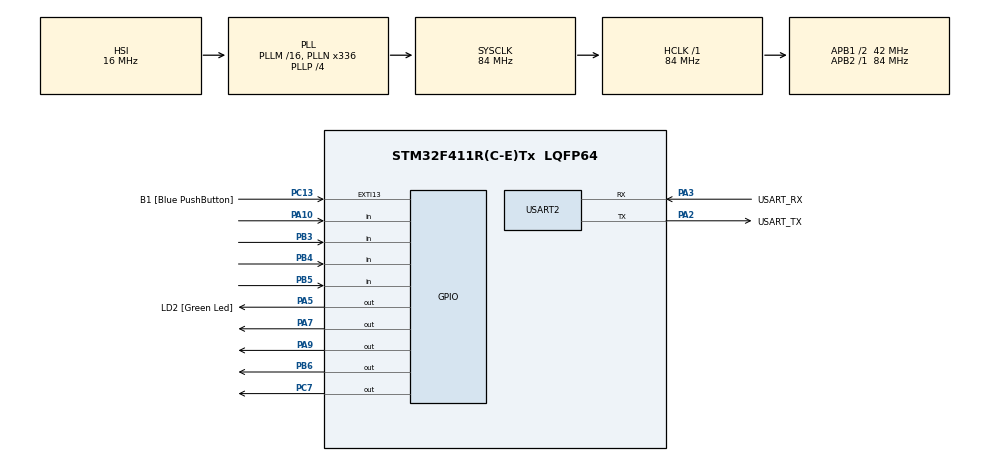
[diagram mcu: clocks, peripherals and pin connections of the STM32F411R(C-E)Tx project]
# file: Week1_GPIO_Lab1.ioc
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Mcu.Family=STM32F4
Mcu.Name=STM32F411R(C-E)Tx
Mcu.Package=LQFP64
NVIC.PriorityGroup=NVIC_PRIORITYGROUP_0
PA10.Signal=GPIO_Input
PA13.GPIO_Label=TMS
PA13.Mode=Serial_Wire
PA13.Signal=SYS_JTMS-SWDIO
PA14.GPIO_Label=TCK
PA14.Mode=Serial_Wire
PA14.Signal=SYS_JTCK-SWCLK
PA2.GPIO_Label=USART_TX
PA2.Mode=Asynchronous
PA2.Signal=USART2_TX
PA3.GPIO_Label=USART_RX
PA3.Mode=Asynchronous
PA3.Signal=USART2_RX
PA5.GPIO_Label=LD2 [Green Led]
PA5.Signal=GPIO_Output
PA7.Signal=GPIO_Output
PA9.Signal=GPIO_Output
PB3.Signal=GPIO_Input
PB4.Signal=GPIO_Input
PB5.Signal=GPIO_Input
PB6.Signal=GPIO_Output
PC13-ANTI_TAMP.GPIO_Label=B1 [Blue PushButton]
PC13-ANTI_TAMP.GPIO_ModeDefaultEXTI=GPIO_MODE_IT_FALLING
PC13-ANTI_TAMP.Signal=GPXTI13
PC14-OSC32_IN.Mode=LSE-External-Oscillator
PC14-OSC32_IN.Signal=RCC_OSC32_IN
PC15-OSC32_OUT.Mode=LSE-External-Oscillator
PC15-OSC32_OUT.Signal=RCC_OSC32_OUT
PC7.Signal=GPIO_Output
PH0\ -\ OSC_IN.Mode=HSE-External-Clock-Source
PH0\ -\ OSC_IN.Signal=RCC_OSC_IN
PH1\ -\ OSC_OUT.Mode=HSE-External-Clock-Source
PH1\ -\ OSC_OUT.Signal=RCC_OSC_OUT
ProjectManager.HeapSize=0x200
ProjectManager.StackSize=0x400
ProjectManager.TargetToolchain=STM32CubeIDE
RCC.48MHZClocksFreq_Value=84000000
RCC.AHBFreq_Value=84000000
RCC.APB1CLKDivider=RCC_HCLK_DIV2
RCC.APB1Freq_Value=42000000
RCC.APB1TimFreq_Value=84000000
RCC.APB2Freq_Value=84000000
RCC.APB2TimFreq_Value=84000000
RCC.CortexFreq_Value=84000000
RCC.FLatency-AdvancedSettings=FLASH_LATENCY_2
RCC.HCLKFreq_Value=84000000
RCC.HSE_VALUE=8000000
RCC.HSI_VALUE=16000000
RCC.PLLN=336
RCC.PLLP=RCC_PLLP_DIV4
RCC.SYSCLKFreq_VALUE=84000000
RCC.SYSCLKSource=RCC_SYSCLKSOURCE_PLLCLK
RCC.VCOOutputFreq_Value=336000000
USART2.VirtualMode=VM_ASYNC
board=NUCLEO-F411RE

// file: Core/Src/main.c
/* USER CODE BEGIN Header */
/**
  ******************************************************************************
  * @file           : main.c
  * @brief          : Main program body
  ******************************************************************************
  * @attention
  *
  * <h2><center>&copy; Copyright (c) 2021 STMicroelectronics.
  * All rights reserved.</center></h2>
  *
  * This software component is licensed by ST under BSD 3-Clause license,
  * the "License"; You may not use this file except in compliance with the
  * License. You may obtain a copy of the License at:
  *                        opensource.org/licenses/BSD-3-Clause
  *
  ******************************************************************************
  */
/* USER CODE END Header */
#include "main.h"

UART_HandleTypeDef huart2;

void SystemClock_Config(void);
static void MX_GPIO_Init(void);
static void MX_USART2_UART_Init(void);

int main(void)
{

  /* MCU Configuration--------------------------------------------------------*/

  /* Reset of all peripherals, Initializes the Flash interface and the Systick. */
  HAL_Init();

  /* Configure the system clock */
  SystemClock_Config();

  /* Initialize all configured peripherals */
  MX_GPIO_Init();
  MX_USART2_UART_Init();
  /* USER CODE BEGIN 2 */
  GPIO_PinState SwitchState1[2];	//Now,Last
  GPIO_PinState SwitchState2[2];
  GPIO_PinState SwitchState3[2];
  uint8_t LED_SET = 0;
  uint16_t LED1_HalfPeriod = 150;
  uint16_t LED_TIME= 0;
  uint32_t TimeStamp =0;
  uint32_t TimeStamp2 =0;
  uint32_t ButtonTimeStamp = 0;
  /* USER CODE END 2 */

  /* Infinite loop */
  while (1)
  {

    /* USER CODE BEGIN 3 */
	  if (HAL_GetTick() - ButtonTimeStamp >= 100){
		  ButtonTimeStamp = HAL_GetTick();
		  //switch press is LOW
		  SwitchState1[0] = HAL_GPIO_ReadPin(GPIOA,GPIO_PIN_10);		//0 1
		  SwitchState2[0] = HAL_GPIO_ReadPin(GPIOB,GPIO_PIN_3);
		  SwitchState3[0] = HAL_GPIO_ReadPin(GPIOB,GPIO_PIN_5);

		  //LED Frequency
		  if(SwitchState1[1] == GPIO_PIN_SET && SwitchState1[0] == GPIO_PIN_RESET){		//1 0
			  if(LED1_HalfPeriod == 150){
				  LED1_HalfPeriod =250;
			  }
			  else if(LED1_HalfPeriod == 250){
				  LED1_HalfPeriod =500;
			  }
			  else if(LED1_HalfPeriod == 500){
				  LED1_HalfPeriod =1000;
			  }
			  else if(LED1_HalfPeriod == 1000){
 				  LED1_HalfPeriod =1500;
			  }
			  else{
				  LED1_HalfPeriod =150;
			  }
		 }

		  //Run LED
		  if (HAL_GetTick() - TimeStamp >= LED1_HalfPeriod){
			  TimeStamp = HAL_GetTick();
			  if (HAL_GPIO_ReadPin(GPIOA, GPIO_PIN_9) == GPIO_PIN_SET){
				  HAL_GPIO_WritePin(GPIOA, GPIO_PIN_9, GPIO_PIN_RESET);
			  }
			  else{
				  HAL_GPIO_WritePin(GPIOA, GPIO_PIN_9, GPIO_PIN_SET);
			  }
		  }

		 //ON OFF LED
		 if(SwitchState2[1] == GPIO_PIN_RESET && SwitchState2[0] == GPIO_PIN_SET){
			 if (HAL_GPIO_ReadPin(GPIOC, GPIO_PIN_7) == GPIO_PIN_RESET){
				  HAL_GPIO_WritePin(GPIOC, GPIO_PIN_7, GPIO_PIN_SET);
			  }
			  else{
				  HAL_GPIO_WritePin(GPIOC, GPIO_PIN_7, GPIO_PIN_RESET);
			  }
		 }

		 //Run LED_SET
		 if(SwitchState3[1] == GPIO_PIN_RESET && SwitchState3[0] == GPIO_PIN_SET){
			 if(LED_SET == 0){
				 LED_SET =1;
			 }
			 else if(LED_SET ==1){
				 LED_SET =0;
			 }
		 }
		 if (HAL_GetTick() - TimeStamp2 >= LED_TIME){
			  TimeStamp2 = HAL_GetTick();
			  if ((HAL_GPIO_ReadPin(GPIOB, GPIO_PIN_6) == GPIO_PIN_SET)){
				  HAL_GPIO_WritePin(GPIOB, GPIO_PIN_6, GPIO_PIN_RESET);
				  if(LED_SET==1){
					  LED_TIME = 500;
				  }
				  else if(LED_SET==0){
					  LED_TIME = 1500;
				  }
			  }
			  else{
				  HAL_GPIO_WritePin(GPIOB, GPIO_PIN_6, GPIO_PIN_SET);
				  if(LED_SET==1){
					  LED_TIME = 1500;
				  }
				  else if(LED_SET==0){
					  LED_TIME = 500;
				  }
			  }

//		 if (HAL_GetTick() - TimeStamp2 >= LED_SET){
//			  TimeStamp2 = HAL_GetTick();
//			  if ((HAL_GPIO_ReadPin(GPIOB, GPIO_PIN_6) == GPIO_PIN_SET)&& LED_SET == 1500){
//				  HAL_GPIO_WritePin(GPIOB, GPIO_PIN_6, GPIO_PIN_RESET);
//				  LED_SET = 500;
//			  }
//			  else{
//				  HAL_GPIO_WritePin(GPIOB, GPIO_PIN_6, GPIO_PIN_SET);
//				  LED_SET =1500;
//			  }

		 }

		 SwitchState1[1] = SwitchState1[0];
		 SwitchState2[1] = SwitchState2[0];
		 SwitchState3[1] = SwitchState3[0];
	  }
  }
  /* USER CODE END 3 */
}

void SystemClock_Config(void)
{
  RCC_OscInitTypeDef RCC_OscInitStruct = {0};
  RCC_ClkInitTypeDef RCC_ClkInitStruct = {0};

  /** Configure the main internal regulator output voltage
  */
  __HAL_RCC_PWR_CLK_ENABLE();
  __HAL_PWR_VOLTAGESCALING_CONFIG(PWR_REGULATOR_VOLTAGE_SCALE1);
  /** Initializes the RCC Oscillators according to the specified parameters
  * in the RCC_OscInitTypeDef structure.
  */
  RCC_OscInitStruct.OscillatorType = RCC_OSCILLATORTYPE_HSI;
  RCC_OscInitStruct.HSIState = RCC_HSI_ON;
  RCC_OscInitStruct.HSICalibrationValue = RCC_HSICALIBRATION_DEFAULT;
  RCC_OscInitStruct.PLL.PLLState = RCC_PLL_ON;
  RCC_OscInitStruct.PLL.PLLSource = RCC_PLLSOURCE_HSI;
  RCC_OscInitStruct.PLL.PLLM = 16;
  RCC_OscInitStruct.PLL.PLLN = 336;
  RCC_OscInitStruct.PLL.PLLP = RCC_PLLP_DIV4;
  RCC_OscInitStruct.PLL.PLLQ = 4;
  if (HAL_RCC_OscConfig(&RCC_OscInitStruct) != HAL_OK)
  {
    Error_Handler();
  }
  /** Initializes the CPU, AHB and APB buses clocks
  */
  RCC_ClkInitStruct.ClockType = RCC_CLOCKTYPE_HCLK|RCC_CLOCKTYPE_SYSCLK
                              |RCC_CLOCKTYPE_PCLK1|RCC_CLOCKTYPE_PCLK2;
  RCC_ClkInitStruct.SYSCLKSource = RCC_SYSCLKSOURCE_PLLCLK;
  RCC_ClkInitStruct.AHBCLKDivider = RCC_SYSCLK_DIV1;
  RCC_ClkInitStruct.APB1CLKDivider = RCC_HCLK_DIV2;
  RCC_ClkInitStruct.APB2CLKDivider = RCC_HCLK_DIV1;

  if (HAL_RCC_ClockConfig(&RCC_ClkInitStruct, FLASH_LATENCY_2) != HAL_OK)
  {
    Error_Handler();
  }
}

static void MX_USART2_UART_Init(void)
{

  huart2.Instance = USART2;
  huart2.Init.BaudRate = 115200;
  huart2.Init.WordLength = UART_WORDLENGTH_8B;
  huart2.Init.StopBits = UART_STOPBITS_1;
  huart2.Init.Parity = UART_PARITY_NONE;
  huart2.Init.Mode = UART_MODE_TX_RX;
  huart2.Init.HwFlowCtl = UART_HWCONTROL_NONE;
  huart2.Init.OverSampling = UART_OVERSAMPLING_16;
  if (HAL_UART_Init(&huart2) != HAL_OK)
  {
    Error_Handler();
  }

}

static void MX_GPIO_Init(void)
{
  GPIO_InitTypeDef GPIO_InitStruct = {0};

  /* GPIO Ports Clock Enable */
  __HAL_RCC_GPIOC_CLK_ENABLE();
  __HAL_RCC_GPIOH_CLK_ENABLE();
  __HAL_RCC_GPIOA_CLK_ENABLE();
  __HAL_RCC_GPIOB_CLK_ENABLE();

  /*Configure GPIO pin Output Level */
  HAL_GPIO_WritePin(GPIOA, LD2_Pin|GPIO_PIN_7|GPIO_PIN_9, GPIO_PIN_RESET);

  /*Configure GPIO pin Output Level */
  HAL_GPIO_WritePin(GPIOC, GPIO_PIN_7, GPIO_PIN_RESET);

  /*Configure GPIO pin Output Level */
  HAL_GPIO_WritePin(GPIOB, GPIO_PIN_6, GPIO_PIN_RESET);

  /*Configure GPIO pin : B1_Pin */
  GPIO_InitStruct.Pin = B1_Pin;
  GPIO_InitStruct.Mode = GPIO_MODE_IT_FALLING;
  GPIO_InitStruct.Pull = GPIO_NOPULL;
  HAL_GPIO_Init(B1_GPIO_Port, &GPIO_InitStruct);

  /*Configure GPIO pins : LD2_Pin PA7 PA9 */
  GPIO_InitStruct.Pin = LD2_Pin|GPIO_PIN_7|GPIO_PIN_9;
  GPIO_InitStruct.Mode = GPIO_MODE_OUTPUT_PP;
  GPIO_InitStruct.Pull = GPIO_NOPULL;
  GPIO_InitStruct.Speed = GPIO_SPEED_FREQ_LOW;
  HAL_GPIO_Init(GPIOA, &GPIO_InitStruct);

  /*Configure GPIO pin : PC7 */
  GPIO_InitStruct.Pin = GPIO_PIN_7;
  GPIO_InitStruct.Mode = GPIO_MODE_OUTPUT_PP;
  GPIO_InitStruct.Pull = GPIO_NOPULL;
  GPIO_InitStruct.Speed = GPIO_SPEED_FREQ_LOW;
  HAL_GPIO_Init(GPIOC, &GPIO_InitStruct);

  /*Configure GPIO pin : PA10 */
  GPIO_InitStruct.Pin = GPIO_PIN_10;
  GPIO_InitStruct.Mode = GPIO_MODE_INPUT;
  GPIO_InitStruct.Pull = GPIO_NOPULL;
  HAL_GPIO_Init(GPIOA, &GPIO_InitStruct);

  /*Configure GPIO pins : PB3 PB4 PB5 */
  GPIO_InitStruct.Pin = GPIO_PIN_3|GPIO_PIN_4|GPIO_PIN_5;
  GPIO_InitStruct.Mode = GPIO_MODE_INPUT;
  GPIO_InitStruct.Pull = GPIO_NOPULL;
  HAL_GPIO_Init(GPIOB, &GPIO_InitStruct);

  /*Configure GPIO pin : PB6 */
  GPIO_InitStruct.Pin = GPIO_PIN_6;
  GPIO_InitStruct.Mode = GPIO_MODE_OUTPUT_PP;
  GPIO_InitStruct.Pull = GPIO_NOPULL;
  GPIO_InitStruct.Speed = GPIO_SPEED_FREQ_LOW;
  HAL_GPIO_Init(GPIOB, &GPIO_InitStruct);

}

void Error_Handler(void)
{
  __disable_irq();
  while (1)
  {
  }
}

/************************ (C) COPYRIGHT STMicroelectronics *****END OF FILE****/
